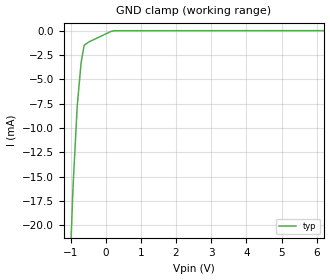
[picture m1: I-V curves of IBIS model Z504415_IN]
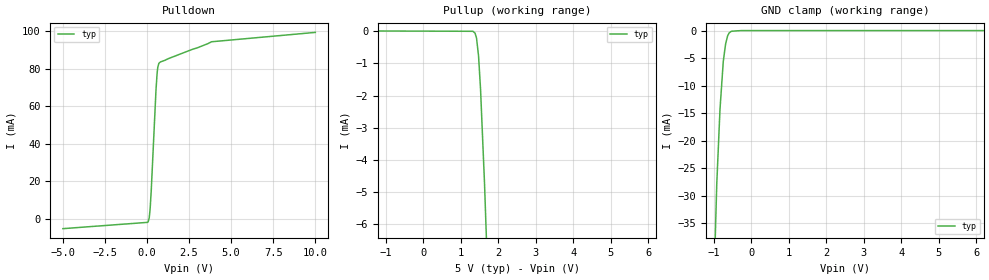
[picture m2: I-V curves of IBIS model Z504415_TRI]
| YOU ARE ONLY AUTHORIZED TO USE THIS SOFTWARE
| ACCORDING TO LICENSOR'S LICENSE RESTRICTIONS.
[IBIS Ver] 3.1
[File Name] sn54ls240j.ibs
[File Rev] 2.0
[Source] Measured and created by ICX Technology
[Date] Friday 7/14/00 9:08:14 AM
[Copyright]
| (C) COPYRIGHT 1993-2000
| MENTOR GRAPHICS CORPORATION
| ICX STANDARD LIBRARY, ICX PROJECT MODELING,
| ICX CUSTOM MODELING, ICX VENDOR MODEL
| ALL RIGHTS RESERVED.
| THE FOLLOWING ARE TRADEMARKS OR SERVICE MARKS OF
| MENTOR GRAPHICS CORPORATION:ICX (R), ICX STANDARD
| LIBRARY(R), ICX PROJECT MODELING(R), ICX CUSTOM
| MODELING(R), qualityIBIS(TM), MODELVIEWER(TM),
| AND MODELEDITOR(TM)
| ALL COPIES OF SOFTWARE, INCLUDING BUT NOT LIMITED TO
| ANY MODIFICATIONS, ENHANCEMENTS OR DERIVATIVE WORKS,
| MUST CONTAIN ALL MENTOR GRAPHICS CORPORATION'S
| NOTICES AND LEGENDS, INCLUDING THOSE EMBEDDED IN
| SOFTWARE AND THOSE AFFIXED TO SOFTWARE MEDIUM
| AND CONTAINER, AS RECEIVED FROM MENTOR GRAPHICS
| CORPORATION.
|  ZAP Model Builder 2.7
[Component] SN54LS240J
[Manufacturer] OnSemiconductor
[Package]
| variable   typ   min   max
R_pkg  .216ohms NA NA
L_pkg  5.76nH NA NA
C_pkg  2.193pF NA NA
[Pin] signal_name  model_name  R_pin  L_pin C_pin
1 _G Z504415_IN .232 9.76n 3.179p
2 A0 Z504415_IN .224 7.26n 2.686p
3 _Y3 Z504415_TRI .216 5.26n 2.193p
4 A1 Z504415_IN .208 3.76n 1.7p
5 _Y2 Z504415_TRI .2 2.76n 1.207p
6 A2 Z504415_IN .2 2.76n 1.207p
7 _Y1 Z504415_TRI .208 3.76n 1.7p
8 A3 Z504415_IN .216 5.26n 2.193p
9 _Y0 Z504415_TRI .224 7.26n 2.686p
10 GND GND .232 9.76n 3.179p
11 A0 Z504415_IN .232 9.76n 3.179p
12 _Y3 Z504415_TRI .224 7.26n 2.686p
13 A1 Z504415_IN .216 5.26n 2.193p
14 _Y2 Z504415_TRI .208 3.76n 1.7p
15 A2 Z504415_IN .2 2.76n 1.207p
16 _Y1 Z504415_TRI .2 2.76n 1.207p
17 A3 Z504415_IN .208 3.76n 1.7p
18 _Y0 Z504415_TRI .216 5.26n 2.193p
19 _G Z504415_IN .224 7.26n 2.686p
20 VCC POWER .232 9.76n 3.179p
| Models and submodels in the file (2): Z504415_IN (Input), Z504415_TRI (3-state)
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| (C) COPYRIGHT 1993-2000
| MENTOR GRAPHICS CORPORATION
| ICX STANDARD LIBRARY, ICX PROJECT MODELING,
| ICX CUSTOM MODELING, ICX VENDOR MODEL
| ALL RIGHTS RESERVED.
| THE FOLLOWING ARE TRADEMARKS OR SERVICE MARKS OF
| MENTOR GRAPHICS CORPORATION:ICX (R), ICX STANDARD
| LIBRARY(R), ICX PROJECT MODELING(R), ICX CUSTOM
| MODELING(R), qualityIBIS(TM), MODELVIEWER(TM),
| AND MODELEDITOR(TM)
| ALL COPIES OF SOFTWARE, INCLUDING BUT NOT LIMITED TO
| ANY MODIFICATIONS, ENHANCEMENTS OR DERIVATIVE WORKS,
| MUST CONTAIN ALL MENTOR GRAPHICS CORPORATION'S
| NOTICES AND LEGENDS, INCLUDING THOSE EMBEDDED IN
| SOFTWARE AND THOSE AFFIXED TO SOFTWARE MEDIUM
| AND CONTAINER, AS RECEIVED FROM MENTOR GRAPHICS
| CORPORATION.
| Model Application Version 1.89 2/18/99.
[Model] Z504415_IN
Model_type Input
Vinl = 800.0mV
Vinh = 2.000V
C_comp 4.000pF NA NA
| variable typ   min   max
[Voltage Range] 5.000V NA NA
[GND Clamp Reference] 0.000V NA NA
[POWER Clamp Reference] 5.000V NA NA
[GND Clamp]
-5V       -408.9mA   NA         NA
-926.7mV  -15.81mA   NA         NA
-809.6mV  -7.708mA   NA         NA
-698.2mV  -3.241mA   NA         NA
-612.7mV  -1.494mA   NA         NA
-490.2mV  -1.174mA   NA         NA
151.4mV   -70.43uA   NA         NA
248.7mV   1.567uA    NA         NA
10V       16.47uA    NA         NA
[POWER Clamp]
-5V       0A         NA         NA
10V       0A         NA         NA
| (C) COPYRIGHT 1993-2000
| MENTOR GRAPHICS CORPORATION
| ICX STANDARD LIBRARY, ICX PROJECT MODELING,
| ICX CUSTOM MODELING, ICX VENDOR MODEL
| ALL RIGHTS RESERVED.
| THE FOLLOWING ARE TRADEMARKS OR SERVICE MARKS OF
| MENTOR GRAPHICS CORPORATION:ICX (R), ICX STANDARD
| LIBRARY(R), ICX PROJECT MODELING(R), ICX CUSTOM
| MODELING(R), qualityIBIS(TM), MODELVIEWER(TM),
| AND MODELEDITOR(TM)
| ALL COPIES OF SOFTWARE, INCLUDING BUT NOT LIMITED TO
| ANY MODIFICATIONS, ENHANCEMENTS OR DERIVATIVE WORKS,
| MUST CONTAIN ALL MENTOR GRAPHICS CORPORATION'S
| NOTICES AND LEGENDS, INCLUDING THOSE EMBEDDED IN
| SOFTWARE AND THOSE AFFIXED TO SOFTWARE MEDIUM
| AND CONTAINER, AS RECEIVED FROM MENTOR GRAPHICS
| CORPORATION.
| Model Application Version 1.89 2/18/99.
[Model] Z504415_TRI
Model_type 3-state
Vref=588.0mV
Rref=588.5ohms
Cref=45.00pF
Vmeas=1.300V
C_comp 8.000pF NA NA
| variable typ   min   max
[Voltage Range] 5.000V NA NA
[POWER Clamp Reference] 5.000V NA NA
[Pullup Reference] 5.000V NA NA
[Pulldown Reference] 0.000V NA NA
[GND Clamp Reference] 0.000V NA NA
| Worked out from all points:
|   slope of the pulldown table from 0 to 0.75 V, typ, clamps not added: 8.79 ohm
|   GND clamp passes 1 mA (typ) near -0.63 V on its own axis
[GND Clamp]
-5V       -1.695A    NA         NA
-1.127V   -90.52mA   NA         NA
-1.01V    -50.55mA   NA         NA
-916.4mV  -27.9mA    NA         NA
-830mV    -14.29mA   NA         NA
-742mV    -5.557mA   NA         NA
-680.9mV  -2.448mA   NA         NA
-624.9mV  -917.4uA   NA         NA
-585.9mV  -431.5uA   NA         NA
-527.3mV  -120.7uA   NA         NA
-263.7mV  0A         NA         NA
10V       0A         NA         NA
[Pulldown]
-5V       -5.317mA   NA         NA
68.93mV   -1.609mA   NA         NA
131.7mV   479.7uA    NA         NA
185mV     5.317mA    NA         NA
251.6mV   15.27mA    NA         NA
533.4mV   68.84mA    NA         NA
601.2mV   77.87mA    NA         NA
637.6mV   80.74mA    NA         NA
698.2mV   82.8mA     NA         NA
737.3mV   83.27mA    NA         NA
3.836V    94.46mA    NA         NA
10V       99.46mA    NA         NA
[Pullup]
-5V       22.33uA    NA         NA
1.325V    -569.9nA   NA         NA
1.383V    -61.55uA   NA         NA
1.421V    -212.6uA   NA         NA
1.475V    -769.7uA   NA         NA
1.528V    -1.8mA     NA         NA
1.635V    -4.77mA    NA         NA
10V       -288.8mA   NA         NA
[POWER Clamp]
-5V       0A         NA         NA
10V       0A         NA         NA
[Ramp]
| variable typ min max
dV/dt_r 1.920/6.014n NA NA
dV/dt_f 1.920/3.541n NA NA
R_load = 500.0Ohms
